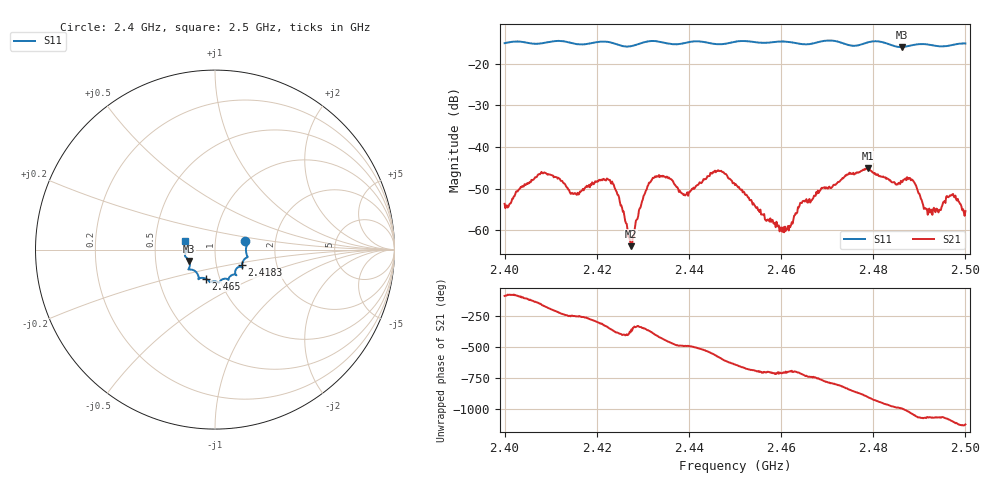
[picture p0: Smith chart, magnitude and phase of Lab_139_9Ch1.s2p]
# Hz S RI R 50
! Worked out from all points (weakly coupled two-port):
!   601 points, 2.4 GHz to 2.5 GHz, reference 50 ohm
!   highest |S21| = -45.11 dB at 2.4788 GHz (marker M1); lowest = -63.8 dB at 2.4275 GHz (marker M2)
!   lowest |S11| = -16.1 dB at 2.4862 GHz (marker M3), VSWR 1.37, Z = 37.1 - j4.82 ohm
!   |S11| at or under -10 dB: start of sweep to end of sweep
!   S12 and S22 are empty: the file has one direction only
!   S11 on the Smith chart (normalised r, x): 2.4 GHz: 1.40, +0.13; 2.4183 GHz: 1.33, -0.24; 2.465 GHz: 0.86, -0.29; 2.5 GHz: 0.71, +0.07
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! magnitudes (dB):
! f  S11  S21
! 2.4 GHz  -15.1  -53.6
! 2.4083 GHz  -15.1  -46.3
! 2.4167 GHz  -15.4  -50.5
! 2.4183 GHz  -15.2  -49.1
! 2.4232 GHz  -15.0  -48.8
! 2.4275 GHz  -15.8  -63.8
! 2.4308 GHz  -14.8  -50.2
! 2.4333 GHz  -14.7  -47.1
! 2.439 GHz  -15.1  -51.4
! 2.446 GHz  -15.4  -45.8
! 2.45 GHz  -14.8  -49.1
! 2.4602 GHz  -14.7  -60.2
! 2.465 GHz  -15.4  -52.9
! 2.4667 GHz  -15.3  -52.8
! 2.4788 GHz  -14.9  -45.1
! 2.4833 GHz  -15.3  -47.7
! 2.4862 GHz  -16.1  -48.5
! 2.4885 GHz  -15.6  -47.9
! 2.4915 GHz  -15.4  -54.9
! 2.4943 GHz  -15.9  -55.0
! 2.497 GHz  -15.6  -51.5
! 2.5 GHz  -15.2  -55.4
